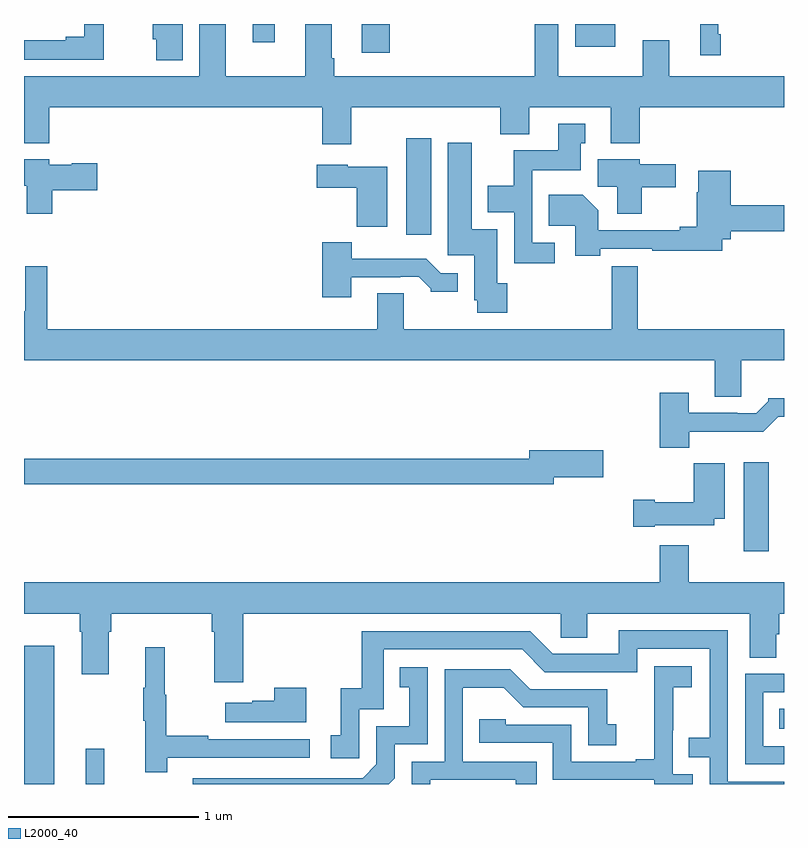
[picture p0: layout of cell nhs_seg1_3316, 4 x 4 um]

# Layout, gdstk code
import gdstk
lib = gdstk.Library(unit=1e-6, precision=1e-09)
def R(c, l, rs):  # rectangles x0, y0, x1, y1
    for r in rs: c.add(gdstk.rectangle(r[:2], r[2:], *l))
def P(c, l, *ps):  # polygons
    for p in ps: c.add(gdstk.Polygon(p, *l))
L2000_40 = (2000, 40)

nhs_seg1_3316 = lib.new_cell('nhs_seg1_3316')
R(nhs_seg1_3316, L2000_40, [(291.326,520.199,291.423,520.384), (294.976,520.49,295,520.594), (294.788,521.424,294.919,521.893), (293.012,523.089,293.143,523.597), (292.778,524.049,292.925,524.199), (293.9,524.078,294.112,524.199), (292.205,524.103,292.321,524.199), (294.299,524.198,294.469,524.199)])
P(nhs_seg1_3316, L2000_40, [(291.419,524.199),(291.317,524.199),(291.317,524.131),(291.221,524.131),(291.221,524.113),(291,524.113),(291,524.012),(291.419,524.012)],
  [(291.835,524.199),(291.677,524.199),(291.677,524.118),(291.695,524.118),(291.695,524.009),(291.835,524.009)],
  [(294.667,524.146),(294.654,524.146),(294.654,524.199),(294.558,524.199),(294.558,524.034),(294.667,524.034)],
  [(292.723,523.76),(293.507,523.76),(293.507,523.619),(293.659,523.619),(293.659,523.76),(294.089,523.76),(294.089,523.571),(294.242,523.571),(294.242,523.76),(295,523.76),(295,523.924),(294.397,523.924),(294.397,524.113),(294.257,524.113),(294.257,523.924),(293.812,523.924),(293.812,524.199),(293.687,524.199),(293.687,523.924),(292.634,523.924),(292.634,524.02),(292.621,524.02),(292.621,524.199),(292.481,524.199),(292.481,523.924),(292.063,523.924),(292.063,524.199),(291.923,524.199),(291.923,523.924),(291,523.924),(291,523.571),(291.134,523.571),(291.134,523.76),(292.571,523.76),(292.571,523.566),(292.723,523.566)],
  [(293.794,523.047),(293.676,523.047),(293.676,523.43),(293.929,523.43),(293.929,523.572),(293.953,523.572),(293.953,523.675),(293.813,523.675),(293.813,523.534),(293.578,523.534),(293.578,523.348),(293.441,523.348),(293.441,523.208),(293.58,523.208),(293.58,522.939),(293.794,522.939)],
  [(293.543,522.834),(293.491,522.834),(293.491,523.12),(293.356,523.12),(293.356,523.573),(293.231,523.573),(293.231,522.981),(293.369,522.981),(293.369,522.744),(293.386,522.744),(293.386,522.678),(293.543,522.678)],
  [(294.252,523.34),(294.43,523.34),(294.43,523.462),(294.24,523.462),(294.24,523.486),(294.02,523.486),(294.02,523.342),(294.122,523.342),(294.122,523.2),(294.252,523.2)],
  [(291.149,523.325),(291.385,523.325),(291.385,523.467),(291.252,523.467),(291.252,523.459),(291.132,523.459),(291.132,523.486),(291,523.486),(291,523.348),(291.014,523.348),(291.014,523.2),(291.149,523.2)],
  [(292.912,523.447),(292.704,523.447),(292.704,523.459),(292.542,523.459),(292.542,523.337),(292.75,523.337),(292.75,523.133),(292.912,523.133)],
  [(294.034,523.017),(294.307,523.017),(294.307,523.005),(294.676,523.005),(294.676,523.066),(294.719,523.066),(294.719,523.108),(295,523.108),(295,523.244),(294.719,523.244),(294.719,523.426),(294.548,523.426),(294.548,523.313),(294.541,523.313),(294.541,523.133),(294.452,523.133),(294.452,523.113),(294.022,523.113),(294.022,523.219),(293.941,523.3),(293.761,523.3),(293.761,523.136),(293.9,523.136),(293.9,522.979),(294.034,522.979)],
  [(292.723,522.867),(292.979,522.867),(292.979,522.87),(293.078,522.87),(293.142,522.806),(293.142,522.791),(293.284,522.791),(293.284,522.888),(293.193,522.888),(293.117,522.964),(292.726,522.964),(292.726,523.051),(292.571,523.051),(292.571,522.762),(292.723,522.762)],
  [(294.775,522.428),(295,522.428),(295,522.592),(294.23,522.592),(294.23,522.925),(294.094,522.925),(294.094,522.592),(292.999,522.592),(292.999,522.782),(292.859,522.782),(292.859,522.592),(291.122,522.592),(291.122,522.925),(291.006,522.925),(291.006,522.688),(291,522.688),(291,522.428),(294.635,522.428),(294.635,522.238),(294.775,522.238)],
  [(294.502,522.054),(294.891,522.054),(294.969,522.132),(295,522.132),(295,522.229),(294.918,522.229),(294.918,522.214),(294.854,522.15),(294.755,522.15),(294.755,522.153),(294.499,522.153),(294.499,522.259),(294.347,522.259),(294.347,521.969),(294.502,521.969)],
  [(293.788,521.813),(294.049,521.813),(294.049,521.955),(293.66,521.955),(293.66,521.912),(291,521.912),(291,521.776),(293.788,521.776)],
  [(294.319,521.561),(294.633,521.561),(294.633,521.594),(294.688,521.594),(294.688,521.887),(294.526,521.887),(294.526,521.683),(294.319,521.683),(294.319,521.696),(294.207,521.696),(294.207,521.554),(294.319,521.554)],
  [(292.154,521.096),(293.826,521.096),(293.826,520.969),(293.965,520.969),(293.965,521.096),(294.821,521.096),(294.821,520.864),(294.96,520.864),(294.96,520.987),(294.974,520.987),(294.974,521.096),(295,521.096),(295,521.26),(294.499,521.26),(294.499,521.455),(294.347,521.455),(294.347,521.26),(291,521.26),(291,521.096),(291.293,521.096),(291.293,521),(291.305,521),(291.305,520.776),(291.445,520.776),(291.445,521),(291.458,521),(291.458,521.096),(291.989,521.096),(291.989,521),(292.001,521),(292.001,520.734),(292.154,520.734)],
  [(295,520.212),(294.705,520.212),(294.705,521.007),(294.131,521.007),(294.131,520.884),(293.784,520.884),(293.664,521.004),(292.777,521.004),(292.777,520.702),(292.667,520.702),(292.667,520.455),(292.614,520.455),(292.614,520.335),(292.764,520.335),(292.764,520.593),(292.893,520.593),(292.893,520.908),(293.622,520.908),(293.742,520.788),(294.228,520.788),(294.228,520.911),(294.609,520.911),(294.609,520.442),(294.499,520.442),(294.499,520.341),(294.609,520.341),(294.609,520.199),(295,520.199)],
  [(291.16,520.927),(291.002,520.927),(291.002,520.569),(291,520.569),(291,520.199),(291.16,520.199)],
  [(291.755,520.338),(292.504,520.338),(292.504,520.434),(291.971,520.434),(291.971,520.454),(291.748,520.454),(291.748,520.668),(291.74,520.668),(291.74,520.918),(291.638,520.918),(291.638,520.705),(291.627,520.705),(291.627,520.531),(291.638,520.531),(291.638,520.26),(291.755,520.26)],
  [(294.519,520.251),(294.414,520.251),(294.414,520.481),(294.416,520.481),(294.416,520.709),(294.514,520.709),(294.514,520.819),(294.316,520.819),(294.316,520.613),(294.317,520.613),(294.317,520.33),(294.221,520.33),(294.221,520.317),(293.88,520.317),(293.88,520.512),(293.535,520.512),(293.535,520.539),(293.395,520.539),(293.395,520.416),(293.784,520.416),(293.784,520.221),(294.318,520.221),(294.318,520.199),(294.519,520.199)],
  [(292.95,520.23),(292.95,520.407),(293.124,520.407),(293.124,520.813),(292.978,520.813),(292.978,520.707),(293.027,520.707),(293.027,520.503),(292.854,520.503),(292.854,520.302),(292.782,520.23),(291.888,520.23),(291.888,520.199),(292.919,520.199)],
  [(293.137,520.221),(293.588,520.221),(293.588,520.199),(293.699,520.199),(293.699,520.317),(293.31,520.317),(293.31,520.706),(293.524,520.706),(293.628,520.602),(293.97,520.602),(293.97,520.404),(294.118,520.404),(294.118,520.513),(294.069,520.513),(294.069,520.698),(293.665,520.698),(293.56,520.803),(293.214,520.803),(293.214,520.317),(293.04,520.317),(293.04,520.199),(293.137,520.199)],
  [(295,520.398),(294.891,520.398),(294.891,520.683),(295,520.683),(295,520.779),(294.795,520.779),(294.795,520.302),(295,520.302)],
  [(292.486,520.705),(292.316,520.705),(292.316,520.637),(292.202,520.637),(292.202,520.627),(292.059,520.627),(292.059,520.523),(292.486,520.523)])

lib.write_gds('nhs_seg1_3316.gds')
